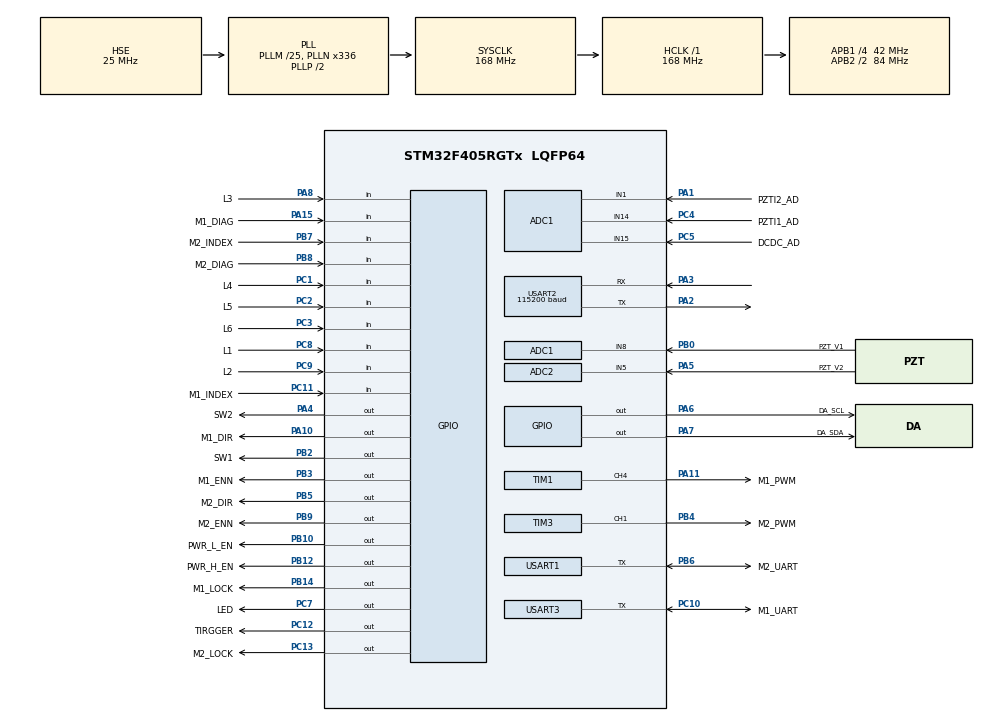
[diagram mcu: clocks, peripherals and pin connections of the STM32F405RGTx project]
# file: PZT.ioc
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ADC1.Channel-0\#ChannelRegularConversion=ADC_CHANNEL_8
ADC1.ClockPrescaler=ADC_CLOCK_SYNC_PCLK_DIV8
ADC1.ContinuousConvMode=ENABLE
ADC1.DMAContinuousRequests=DISABLE
ADC1.EOCSelection=ADC_EOC_SEQ_CONV
ADC1.NbrOfConversion=1
ADC1.NbrOfConversionFlag=1
ADC1.Rank-0\#ChannelRegularConversion=1
ADC1.SamplingTime-0\#ChannelRegularConversion=ADC_SAMPLETIME_480CYCLES
ADC1.master=1
ADC2.Channel-0\#ChannelRegularConversion=ADC_CHANNEL_5
ADC2.ClockPrescaler=ADC_CLOCK_SYNC_PCLK_DIV8
ADC2.ContinuousConvMode=ENABLE
ADC2.EOCSelection=ADC_EOC_SEQ_CONV
ADC2.NbrOfConversionFlag=1
ADC2.Rank-0\#ChannelRegularConversion=1
ADC2.SamplingTime-0\#ChannelRegularConversion=ADC_SAMPLETIME_480CYCLES
Mcu.Family=STM32F4
Mcu.Name=STM32F405RGTx
Mcu.Package=LQFP64
NVIC.ADC_IRQn=true\:0\:0\:false\:false\:true\:true\:true\:true
NVIC.PriorityGroup=NVIC_PRIORITYGROUP_4
NVIC.TIM1_UP_TIM10_IRQn=true\:0\:0\:false\:false\:true\:true\:true\:true
NVIC.TIM3_IRQn=true\:0\:0\:false\:false\:true\:true\:true\:true
NVIC.USART2_IRQn=true\:0\:0\:false\:false\:true\:true\:true\:true
PA1.GPIO_Label=PZTI2_AD
PA1.Signal=ADCx_IN1
PA10.GPIO_Label=M1_DIR
PA10.Signal=GPIO_Output
PA11.GPIO_Label=M1_PWM
PA11.Signal=S_TIM1_CH4
PA13.Mode=Serial_Wire
PA13.Signal=SYS_JTMS-SWDIO
PA14.Mode=Serial_Wire
PA14.Signal=SYS_JTCK-SWCLK
PA15.GPIO_Label=M1_DIAG
PA15.Signal=GPIO_Input
PA2.Mode=Asynchronous
PA2.Signal=USART2_TX
PA3.Mode=Asynchronous
PA3.Signal=USART2_RX
PA4.GPIO_Label=SW2
PA4.Signal=GPIO_Output
PA5.GPIO_Label=PZT_V2
PA5.Signal=ADCx_IN5
PA6.GPIO_Label=DA_SCL
PA6.GPIO_ModeDefaultOutputPP=GPIO_MODE_OUTPUT_OD
PA6.GPIO_PuPd=GPIO_NOPULL
PA6.PinState=GPIO_PIN_SET
PA6.Signal=GPIO_Output
PA7.GPIO_Label=DA_SDA
PA7.GPIO_ModeDefaultOutputPP=GPIO_MODE_OUTPUT_OD
PA7.GPIO_PuPd=GPIO_NOPULL
PA7.PinState=GPIO_PIN_SET
PA7.Signal=GPIO_Output
PA8.GPIO_Label=L3
PA8.GPIO_PuPd=GPIO_PULLUP
PA8.Signal=GPIO_Input
PB0.GPIO_Label=PZT_V1
PB0.Signal=ADCx_IN8
PB10.GPIO_Label=PWR_L_EN
PB10.Signal=GPIO_Output
PB12.GPIO_Label=PWR_H_EN
PB12.Signal=GPIO_Output
PB14.GPIO_Label=M1_LOCK
PB14.Signal=GPIO_Output
PB2.GPIO_Label=SW1
PB2.Signal=GPIO_Output
PB3.GPIO_Label=M1_ENN
PB3.Signal=GPIO_Output
PB4.GPIO_Label=M2_PWM
PB4.Signal=S_TIM3_CH1
PB5.GPIO_Label=M2_DIR
PB5.Signal=GPIO_Output
PB6.GPIO_Label=M2_UART
PB6.GPIO_PuPd=GPIO_PULLUP
PB6.Mode=Half_duplex(single_wire_mode)
PB6.Signal=USART1_TX
PB7.GPIO_Label=M2_INDEX
PB7.Signal=GPIO_Input
PB8.GPIO_Label=M2_DIAG
PB8.Signal=GPIO_Input
PB9.GPIO_Label=M2_ENN
PB9.Signal=GPIO_Output
PC1.GPIO_Label=L4
PC1.GPIO_PuPd=GPIO_PULLUP
PC1.Signal=GPIO_Input
PC10.GPIO_Label=M1_UART
PC10.GPIO_PuPd=GPIO_PULLUP
PC10.Mode=Half_duplex(single_wire_mode)
PC10.Signal=USART3_TX
PC11.GPIO_Label=M1_INDEX
PC11.Signal=GPIO_Input
PC12.GPIO_Label=TIRGGER
PC12.Signal=GPIO_Output
PC13-ANTI_TAMP.GPIO_Label=M2_LOCK
PC13-ANTI_TAMP.Signal=GPIO_Output
PC2.GPIO_Label=L5
PC2.GPIO_PuPd=GPIO_PULLUP
PC2.Signal=GPIO_Input
PC3.GPIO_Label=L6
PC3.GPIO_PuPd=GPIO_PULLUP
PC3.Signal=GPIO_Input
PC4.GPIO_Label=PZTI1_AD
PC4.Signal=ADCx_IN14
PC5.GPIO_Label=DCDC_AD
PC5.Signal=ADCx_IN15
PC7.GPIO_Label=LED
PC7.Signal=GPIO_Output
PC8.GPIO_Label=L1
PC8.GPIO_PuPd=GPIO_PULLUP
PC8.Signal=GPIO_Input
PC9.GPIO_Label=L2
PC9.GPIO_PuPd=GPIO_PULLUP
PC9.Signal=GPIO_Input
PH0-OSC_IN.Mode=HSE-External-Oscillator
PH0-OSC_IN.Signal=RCC_OSC_IN
PH1-OSC_OUT.Mode=HSE-External-Oscillator
PH1-OSC_OUT.Signal=RCC_OSC_OUT
ProjectManager.HeapSize=0x200
ProjectManager.StackSize=0x400
ProjectManager.TargetToolchain=STM32CubeIDE
RCC.48MHZClocksFreq_Value=84000000
RCC.AHBFreq_Value=168000000
RCC.APB1CLKDivider=RCC_HCLK_DIV4
RCC.APB1Freq_Value=42000000
RCC.APB1TimFreq_Value=84000000
RCC.APB2CLKDivider=RCC_HCLK_DIV2
RCC.APB2Freq_Value=84000000
RCC.APB2TimFreq_Value=168000000
RCC.CortexFreq_Value=168000000
RCC.HCLKFreq_Value=168000000
RCC.HSE_VALUE=25000000
RCC.HSI_VALUE=16000000
RCC.LSE_VALUE=32768
RCC.PLLM=25
RCC.PLLN=336
RCC.PLLSourceVirtual=RCC_PLLSOURCE_HSE
RCC.SYSCLKFreq_VALUE=168000000
RCC.SYSCLKSource=RCC_SYSCLKSOURCE_PLLCLK
RCC.VCOOutputFreq_Value=336000000
SH.ADCx_IN1.0=ADC1_IN1,IN1
SH.ADCx_IN14.0=ADC1_IN14,IN14
SH.ADCx_IN15.0=ADC1_IN15,IN15
SH.ADCx_IN5.0=ADC2_IN5,IN5
SH.ADCx_IN8.0=ADC1_IN8,IN8
SH.S_TIM1_CH4.0=TIM1_CH4,PWM Generation4 CH4
SH.S_TIM3_CH1.0=TIM3_CH1,PWM Generation1 CH1
TIM1.Channel-PWM\ Generation4\ CH4=TIM_CHANNEL_4
TIM1.Period=1000
TIM1.Prescaler=167
TIM1.Pulse-PWM\ Generation4\ CH4=500
TIM10.Period=500
TIM10.Prescaler=167
TIM3.Channel-PWM\ Generation1\ CH1=TIM_CHANNEL_1
TIM3.Period=1000
TIM3.Prescaler=83
TIM3.Pulse-PWM\ Generation1\ CH1=500
USART1.BaudRate=38400
USART1.VirtualMode=VM_ASYNC
USART2.BaudRate=115200
USART2.VirtualMode=VM_ASYNC
USART3.BaudRate=38400
USART3.VirtualMode=VM_ASYNC
VP_TIM10_VS_ClockSourceINT.Mode=Enable_Timer
VP_TIM1_VS_ClockSourceINT.Mode=Internal
VP_TIM3_VS_ClockSourceINT.Mode=Internal
board=custom

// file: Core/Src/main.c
/* USER CODE BEGIN Header */
/**
  ******************************************************************************
  * @file           : main.c
  * @brief          : Main program body
  ******************************************************************************
  * @attention
  *
  * Copyright (c) 2025 STMicroelectronics.
  * All rights reserved.
  *
  * This software is licensed under terms that can be found in the LICENSE file
  * in the root directory of this software component.
  * If no LICENSE file comes with this software, it is provided AS-IS.
  *
  ******************************************************************************
  */
/* USER CODE END Header */
#include "main.h"
#include "adc.h"
#include "tim.h"
#include "usart.h"
#include "gpio.h"

/* USER CODE BEGIN Includes */
#include "pzt_current_check.h"
#include "dcdc_power_ctrl.h"
#include "time.h"
#include "step_motor_driver.h"
#include "interface.h"
#include "pzt_quantity_check.h"
#include "mb.h"
/* USER CODE END Includes */

void SystemClock_Config(void);

int main(void)
{

  /* MCU Configuration--------------------------------------------------------*/

  /* Reset of all peripherals, Initializes the Flash interface and the Systick. */
  HAL_Init();

  /* Configure the system clock */
  SystemClock_Config();

  /* Initialize all configured peripherals */
  MX_GPIO_Init();
  MX_ADC1_Init();
  MX_TIM1_Init();
  MX_TIM3_Init();
  MX_USART1_UART_Init();
  MX_USART2_UART_Init();
  MX_USART3_UART_Init();
  MX_TIM10_Init();
  MX_ADC2_Init();
  /* USER CODE BEGIN 2 */
  dcdc_set_power(2000);

//  dcdc_power_off();
//  interface_start();
  eMBInit(MB_RTU, 0x44, 1, 115200, MB_PAR_NONE);
  eMBEnable();
//  while(1) {
  HAL_Delay(2000);
  mcp4728_write_single(1, 120);
//	  step_motor_init(&step_motor1);
//  }
	 // 初始化完成后 LOCK处于打开状态
  step_motor_init(&step_motor1);
  step_motor_init(&step_motor2);
//  HAL_GPIO_WritePin(TIRGGER_GPIO_Port, TIRGGER_Pin, GPIO_PIN_RESET);
//  step_motor1.pos_valid = 2;
//  step_motor2.pos_valid = 2;
//  step_motor_set_mstep(&step_motor1, 6);
//  step_motor_set_mstep(&step_motor2, 6);
//  do {
//	  step_motor_reset(&step_motor1);
//	  step_motor_reset(&step_motor2);
//  } while (step_motor1.step || step_motor2.step);
//
//  step_motor_set_mstep(&step_motor1, 2);
//  step_motor_set_mstep(&step_motor2, 2);
//  pztq_check_start();
  /* USER CODE END 2 */

  /* Infinite loop */
  /* USER CODE BEGIN WHILE */
  while (1)
  {
	  eMBPoll();
	  interface_run();

    /* USER CODE END WHILE */

  }
}

void SystemClock_Config(void)
{
  RCC_OscInitTypeDef RCC_OscInitStruct = {0};
  RCC_ClkInitTypeDef RCC_ClkInitStruct = {0};

  /** Configure the main internal regulator output voltage
  */
  __HAL_RCC_PWR_CLK_ENABLE();
  __HAL_PWR_VOLTAGESCALING_CONFIG(PWR_REGULATOR_VOLTAGE_SCALE1);

  /** Initializes the RCC Oscillators according to the specified parameters
  * in the RCC_OscInitTypeDef structure.
  */
  RCC_OscInitStruct.OscillatorType = RCC_OSCILLATORTYPE_HSE;
  RCC_OscInitStruct.HSEState = RCC_HSE_ON;
  RCC_OscInitStruct.PLL.PLLState = RCC_PLL_ON;
  RCC_OscInitStruct.PLL.PLLSource = RCC_PLLSOURCE_HSE;
  RCC_OscInitStruct.PLL.PLLM = 25;
  RCC_OscInitStruct.PLL.PLLN = 336;
  RCC_OscInitStruct.PLL.PLLP = RCC_PLLP_DIV2;
  RCC_OscInitStruct.PLL.PLLQ = 4;
  if (HAL_RCC_OscConfig(&RCC_OscInitStruct) != HAL_OK)
  {
    Error_Handler();
  }

  /** Initializes the CPU, AHB and APB buses clocks
  */
  RCC_ClkInitStruct.ClockType = RCC_CLOCKTYPE_HCLK|RCC_CLOCKTYPE_SYSCLK
                              |RCC_CLOCKTYPE_PCLK1|RCC_CLOCKTYPE_PCLK2;
  RCC_ClkInitStruct.SYSCLKSource = RCC_SYSCLKSOURCE_PLLCLK;
  RCC_ClkInitStruct.AHBCLKDivider = RCC_SYSCLK_DIV1;
  RCC_ClkInitStruct.APB1CLKDivider = RCC_HCLK_DIV4;
  RCC_ClkInitStruct.APB2CLKDivider = RCC_HCLK_DIV2;

  if (HAL_RCC_ClockConfig(&RCC_ClkInitStruct, FLASH_LATENCY_5) != HAL_OK)
  {
    Error_Handler();
  }
}

void Error_Handler(void)
{
  __disable_irq();
  while (1)
  {
  }
}
